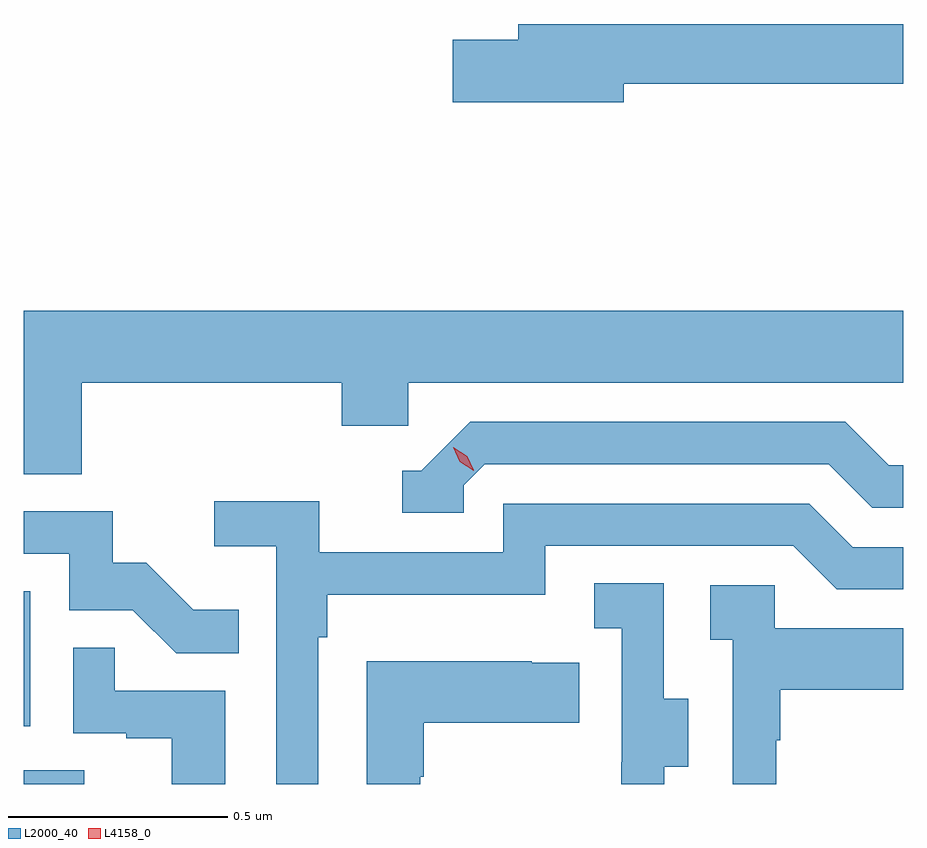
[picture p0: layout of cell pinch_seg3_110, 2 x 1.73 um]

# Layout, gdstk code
import gdstk
lib = gdstk.Library(unit=1e-6, precision=1e-09)
def R(c, l, rs):  # rectangles x0, y0, x1, y1
    for r in rs: c.add(gdstk.rectangle(r[:2], r[2:], *l))
def P(c, l, *ps):  # polygons
    for p in ps: c.add(gdstk.Polygon(p, *l))
L2000_40 = (2000, 40)
L4158_0 = (4158, 0)

pinch_seg3_110 = lib.new_cell('pinch_seg3_110')
R(pinch_seg3_110, L2000_40, [(1046.81,710.659,1046.947,710.69), (1046.81,710.79,1046.824,711.097)])
P(pinch_seg3_110, L2000_40, [(1048.174,712.252),(1048.81,712.252),(1048.81,712.388),(1047.935,712.388),(1047.935,712.352),(1047.786,712.352),(1047.786,712.21),(1048.174,712.21)],
  [(1046.942,711.572),(1047.533,711.572),(1047.533,711.474),(1047.684,711.474),(1047.684,711.572),(1048.81,711.572),(1048.81,711.736),(1046.81,711.736),(1046.81,711.364),(1046.942,711.364)],
  [(1047.81,711.339),(1047.858,711.387),(1048.641,711.387),(1048.74,711.288),(1048.81,711.288),(1048.81,711.384),(1048.777,711.384),(1048.678,711.483),(1047.825,711.483),(1047.714,711.372),(1047.671,711.372),(1047.671,711.276),(1047.81,711.276)],
  [(1047.48,710.993),(1047.5,710.993),(1047.5,711.089),(1047.996,711.089),(1047.996,711.201),(1048.56,711.201),(1048.659,711.102),(1048.81,711.102),(1048.81,711.198),(1048.696,711.198),(1048.597,711.297),(1047.9,711.297),(1047.9,711.186),(1047.482,711.186),(1047.482,711.302),(1047.243,711.302),(1047.243,711.2),(1047.384,711.2),(1047.384,710.659),(1047.48,710.659)],
  [(1047.299,711.055),(1047.195,711.055),(1047.088,711.162),(1047.012,711.162),(1047.012,711.279),(1046.81,711.279),(1046.81,711.183),(1046.913,711.183),(1046.913,711.054),(1047.058,711.054),(1047.156,710.956),(1047.299,710.956)],
  [(1048.267,710.698),(1048.321,710.698),(1048.321,710.853),(1048.266,710.853),(1048.266,711.116),(1048.107,711.116),(1048.107,711.013),(1048.17,711.013),(1048.17,710.709),(1048.169,710.709),(1048.169,710.659),(1048.267,710.659)],
  [(1048.521,710.759),(1048.531,710.759),(1048.531,710.873),(1048.81,710.873),(1048.81,711.013),(1048.518,711.013),(1048.518,711.111),(1048.371,711.111),(1048.371,710.987),(1048.422,710.987),(1048.422,710.659),(1048.521,710.659)],
  [(1047.268,710.871),(1047.017,710.871),(1047.017,710.969),(1046.922,710.969),(1046.922,710.775),(1047.043,710.775),(1047.043,710.763),(1047.146,710.763),(1047.146,710.659),(1047.268,710.659)],
  [(1047.712,710.676),(1047.72,710.676),(1047.72,710.798),(1048.073,710.798),(1048.073,710.935),(1047.965,710.935),(1047.965,710.938),(1047.59,710.938),(1047.59,710.659),(1047.712,710.659)])
P(pinch_seg3_110, L4158_0, [(1047.833,711.372),(1047.802,711.392),(1047.787,711.425),(1047.787,711.425),(1047.787,711.425),(1047.818,711.405),(1047.833,711.373),(1047.833,711.372)])

lib.write_gds('pinch_seg3_110.gds')
